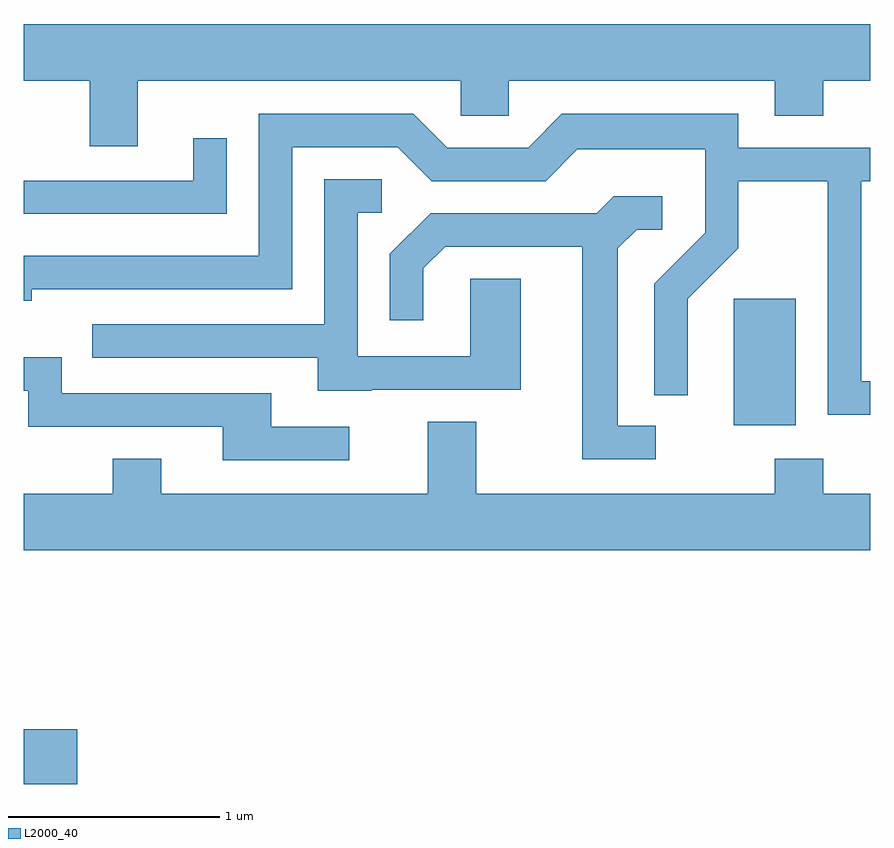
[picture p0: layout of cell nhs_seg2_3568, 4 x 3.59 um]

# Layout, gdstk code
import gdstk
lib = gdstk.Library(unit=1e-6, precision=1e-09)
def R(c, l, rs):  # rectangles x0, y0, x1, y1
    for r in rs: c.add(gdstk.rectangle(r[:2], r[2:], *l))
def P(c, l, *ps):  # polygons
    for p in ps: c.add(gdstk.Polygon(p, *l))
L2000_40 = (2000, 40)

nhs_seg2_3568 = lib.new_cell('nhs_seg2_3568')
R(nhs_seg2_3568, L2000_40, [(289.611,1053.871,289.864,1054.129), (292.966,1055.566,293.259,1056.164)])
P(nhs_seg2_3568, L2000_40, [(290.149,1057.196),(291.676,1057.196),(291.676,1057.031),(291.904,1057.031),(291.904,1057.196),(293.161,1057.196),(293.161,1057.031),(293.389,1057.031),(293.389,1057.196),(293.611,1057.196),(293.611,1057.464),(289.611,1057.464),(289.611,1057.196),(289.921,1057.196),(289.921,1056.886),(290.149,1056.886)],
  [(293.611,1055.774),(293.569,1055.774),(293.569,1056.721),(293.611,1056.721),(293.611,1056.879),(292.989,1056.879),(292.989,1057.039),(292.154,1057.039),(291.994,1056.879),(291.612,1056.879),(291.452,1057.039),(290.721,1057.039),(290.721,1056.369),(289.611,1056.369),(289.611,1056.156),(289.649,1056.156),(289.649,1056.211),(290.879,1056.211),(290.879,1056.881),(291.379,1056.881),(291.539,1056.721),(292.077,1056.721),(292.227,1056.871),(292.831,1056.871),(292.831,1056.477),(292.591,1056.237),(292.591,1055.708),(292.749,1055.708),(292.749,1056.164),(292.989,1056.404),(292.989,1056.721),(293.411,1056.721),(293.411,1055.616),(293.611,1055.616)],
  [(290.569,1056.923),(290.411,1056.923),(290.411,1056.724),(289.611,1056.724),(289.611,1056.566),(290.569,1056.566)],
  [(291.255,1055.736),(291.959,1055.736),(291.959,1056.259),(291.721,1056.259),(291.721,1055.894),(291.189,1055.894),(291.189,1056.571),(291.303,1056.571),(291.303,1056.729),(291.031,1056.729),(291.031,1056.044),(289.933,1056.044),(289.933,1055.886),(291.001,1055.886),(291.001,1055.731),(291.255,1055.731)],
  [(292.598,1055.564),(292.419,1055.564),(292.419,1056.404),(292.507,1056.491),(292.628,1056.491),(292.628,1056.649),(292.399,1056.649),(292.319,1056.569),(291.534,1056.569),(291.341,1056.377),(291.341,1056.063),(291.499,1056.063),(291.499,1056.309),(291.602,1056.411),(292.251,1056.411),(292.251,1055.406),(292.598,1055.406)],
  [(291.148,1055.559),(290.779,1055.559),(290.779,1055.719),(289.789,1055.719),(289.789,1055.889),(289.611,1055.889),(289.611,1055.731),(289.631,1055.731),(289.631,1055.561),(290.551,1055.561),(290.551,1055.401),(291.148,1055.401)],
  [(293.611,1055.244),(293.389,1055.244),(293.389,1055.409),(293.161,1055.409),(293.161,1055.244),(291.749,1055.244),(291.749,1055.584),(291.521,1055.584),(291.521,1055.244),(290.259,1055.244),(290.259,1055.409),(290.031,1055.409),(290.031,1055.244),(289.611,1055.244),(289.611,1054.976),(293.611,1054.976)])

lib.write_gds('nhs_seg2_3568.gds')
